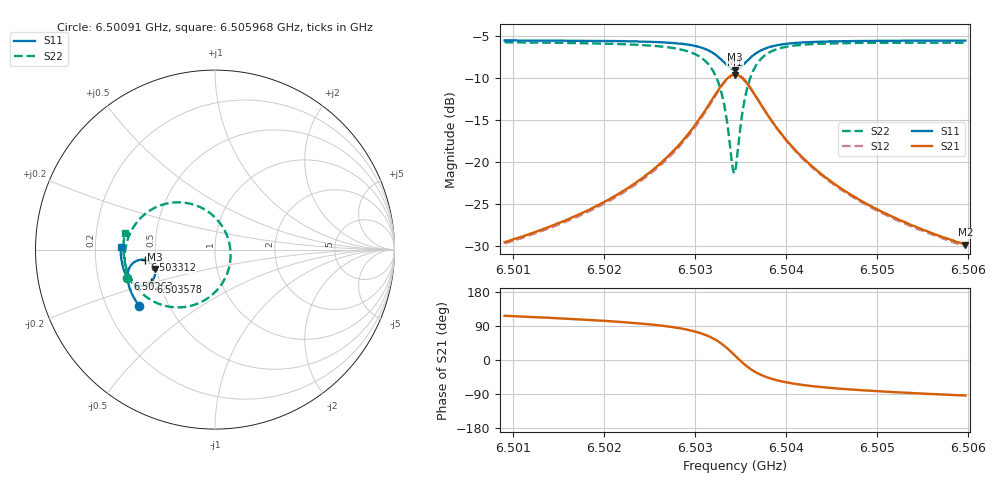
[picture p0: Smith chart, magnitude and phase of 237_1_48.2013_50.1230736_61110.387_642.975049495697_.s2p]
#  HZ  S  RI  R  50.00
! Rohde & Schwarz Vector Network Analyzer
! Rohde-Schwarz,ZNB20-2Port,1311601062101988,3.16
! Created: UTC 3/20/2024, 11:46:41 AM
! freq[Hz]  re:S11  im:S11  re:S21  im:S21  re:S12  im:S12  re:S22  im:S22
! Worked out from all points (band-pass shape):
!   401 points, 6.50091 GHz to 6.505968 GHz, reference 50 ohm
!   highest |S21| = -9.64 dB at 6.503439 GHz (marker M1); lowest = -29.8 dB at 6.505968 GHz (marker M2)
!   |S21| within 3 dB of the highest: 6.503185 GHz to 6.503691 GHz (505.9 kHz wide, 0.00778 % of centre)
!   lowest |S11| = -9.0 dB at 6.503439 GHz (marker M3), VSWR 2.09, Z = 24.3 - j5.97 ohm
!   |S11| at or under -10 dB: nowhere
!   |S22| runs from -21.4 to -5.8 dB; largest |S21 - S12| = 0.011
!   S11 on the Smith chart (normalised r, x): 6.50091 GHz: 0.34, -0.29; 6.50263 GHz: 0.33, -0.15; 6.503312 GHz: 0.44, -0.06; 6.503578 GHz: 0.45, -0.19; 6.505968 GHz: 0.31, +0.01
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6.5009098e9  -0.4244 -0.3117  -0.0149 0.0298  -0.0133 0.03  -0.4889 -0.1577
6.501757e9  -0.4611 -0.2494  -0.0142 0.0476  -0.012 0.0471  -0.5027 -0.0682
6.5022502e9  -0.4786 -0.2056  -0.0111 0.0683  -0.00803 0.0672  -0.4994 0.0021
6.5026043e9  -0.4867 -0.1664  -0.00245 0.0962  0.00115 0.094  -0.4805 0.0733
6.5026295e9  -0.4872 -0.1632  -0.00126 0.099  0.00235 0.0966  -0.4782 0.0794
6.5029204e9  -0.4835 -0.1186  0.0261 0.1429  0.0297 0.1383  -0.4213 0.1685
6.5031101e9  -0.4621 -0.0804  0.0802 0.1852  0.0827 0.1787  -0.3176 0.241
6.5032239e9  -0.4296 -0.0596  0.1494 0.2024  0.1502 0.1961  -0.1929 0.2632
6.5033124e9  -0.389 -0.0581  0.229 0.1859  0.2292 0.1809  -0.0556 0.2222
6.5033503e9  -0.3698 -0.0659  0.2652 0.1625  0.2661 0.1581  0.00437 0.1748
6.5034135e9  -0.3431 -0.0927  0.3129 0.0984  0.3155 0.0935  0.0761 0.0512
6.5034388e9  -0.3369 -0.1074  0.3229 0.066  0.3261 0.0602  0.0865 -0.00938
6.5034641e9  -0.334 -0.1231  0.3263 0.0323  0.3299 0.0252  0.0841 -0.0709
6.5035273e9  -0.3412 -0.1604  0.3077 -0.0457  0.3098 -0.0557  0.0277 -0.2061
6.5035779e9  -0.3578 -0.1821  0.2742 -0.091  0.2736 -0.1023  -0.0491 -0.2767
6.5036917e9  -0.4022 -0.2014  0.1898 -0.1355  0.1842 -0.1449  -0.2198 -0.3219
6.5038561e9  -0.4482 -0.1916  0.1082 -0.1321  0.1012 -0.137  -0.3668 -0.2747
6.5040331e9  -0.4756 -0.1702  0.0637 -0.1119  0.0575 -0.1142  -0.4386 -0.2097
6.504286e9  -0.4961 -0.1402  0.0339 -0.0876  0.0291 -0.0881  -0.4819 -0.1374
6.5046654e9  -0.5118 -0.1008  0.0149 -0.0644  0.0115 -0.0641  -0.5042 -0.0625
6.5051333e9  -0.5212 -0.0575  0.00504 -0.0479  0.00274 -0.0473  -0.5102 0.00315
6.5059678e9  -0.526 0.013  -0.002 -0.0321  -0.00349 -0.0314  -0.5021 0.0911
